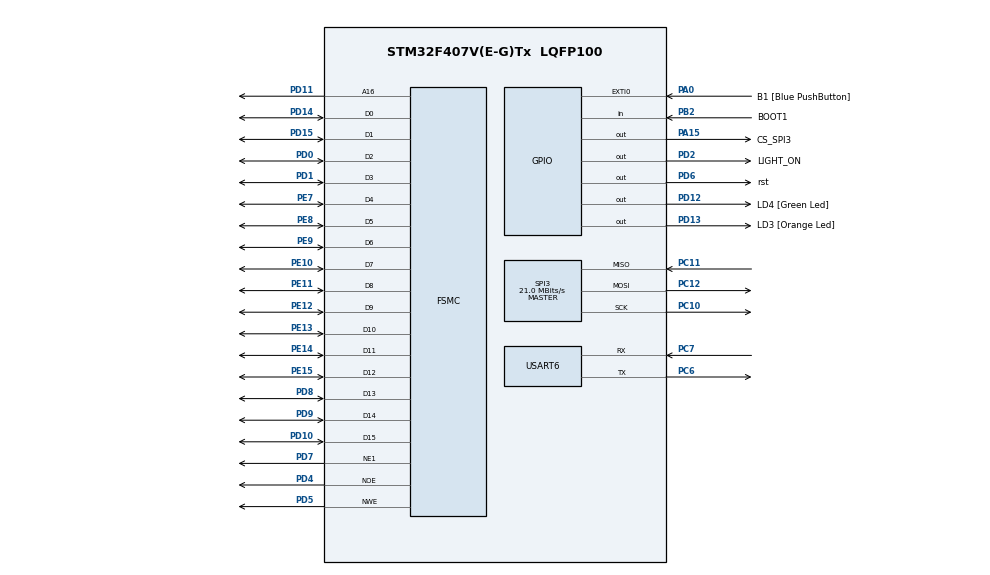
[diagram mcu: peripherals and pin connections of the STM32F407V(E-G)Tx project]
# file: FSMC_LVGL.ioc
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FSMC.ExtendedMode1=FSMC_EXTENDED_MODE_DISABLE
Mcu.Family=STM32F4
Mcu.Name=STM32F407V(E-G)Tx
Mcu.Package=LQFP100
NVIC.PriorityGroup=NVIC_PRIORITYGROUP_0
PA0-WKUP.GPIO_Label=B1 [Blue PushButton]
PA0-WKUP.GPIO_ModeDefaultEXTI=GPIO_MODE_EVT_RISING
PA0-WKUP.GPIO_PuPd=GPIO_NOPULL
PA0-WKUP.Signal=GPXTI0
PA13.GPIO_Label=SWDIO
PA13.Mode=Serial_Wire
PA13.Signal=SYS_JTMS-SWDIO
PA14.GPIO_Label=SWCLK
PA14.Mode=Serial_Wire
PA14.Signal=SYS_JTCK-SWCLK
PA15.GPIO_Label=CS_SPI3
PA15.Signal=GPIO_Output
PB2.GPIO_Label=BOOT1
PB2.GPIO_Mode=GPIO_MODE_INPUT
PB2.GPIO_PuPd=GPIO_NOPULL
PB2.Signal=GPIO_Input
PC10.Mode=Full_Duplex_Master
PC10.Signal=SPI3_SCK
PC11.Mode=Full_Duplex_Master
PC11.Signal=SPI3_MISO
PC12.Mode=Full_Duplex_Master
PC12.Signal=SPI3_MOSI
PC14-OSC32_IN.GPIO_Label=PC14-OSC32_IN
PC14-OSC32_IN.Mode=LSE-External-Oscillator
PC14-OSC32_IN.Signal=RCC_OSC32_IN
PC15-OSC32_OUT.GPIO_Label=PC15-OSC32_OUT
PC15-OSC32_OUT.Mode=LSE-External-Oscillator
PC15-OSC32_OUT.Signal=RCC_OSC32_OUT
PC6.Mode=Asynchronous
PC6.Signal=USART6_TX
PC7.Mode=Asynchronous
PC7.Signal=USART6_RX
PD0.Mode=16b-d1
PD0.Signal=FSMC_D2
PD1.Mode=16b-d1
PD1.Signal=FSMC_D3
PD10.Mode=16b-d1
PD10.Signal=FSMC_D15
PD11.Mode=A16_1
PD11.Signal=FSMC_A16
PD12.GPIO_Label=LD4 [Green Led]
PD12.GPIO_PuPd=GPIO_NOPULL
PD12.GPIO_Speed=GPIO_SPEED_FREQ_LOW
PD12.Signal=GPIO_Output
PD13.GPIO_Label=LD3 [Orange Led]
PD13.GPIO_PuPd=GPIO_NOPULL
PD13.GPIO_Speed=GPIO_SPEED_FREQ_LOW
PD13.Signal=GPIO_Output
PD14.Mode=16b-d1
PD14.Signal=FSMC_D0
PD15.Mode=16b-d1
PD15.Signal=FSMC_D1
PD2.GPIO_Label=LIGHT_ON
PD2.Signal=GPIO_Output
PD4.Mode=Lcd1
PD4.Signal=FSMC_NOE
PD5.Mode=Lcd1
PD5.Signal=FSMC_NWE
PD6.GPIO_Label=rst
PD6.Signal=GPIO_Output
PD7.Mode=NorPsramChipSelect1_1
PD7.Signal=FSMC_NE1
PD8.Mode=16b-d1
PD8.Signal=FSMC_D13
PD9.Mode=16b-d1
PD9.Signal=FSMC_D14
PE10.Mode=16b-d1
PE10.Signal=FSMC_D7
PE11.Mode=16b-d1
PE11.Signal=FSMC_D8
PE12.Mode=16b-d1
PE12.Signal=FSMC_D9
PE13.Mode=16b-d1
PE13.Signal=FSMC_D10
PE14.Mode=16b-d1
PE14.Signal=FSMC_D11
PE15.Mode=16b-d1
PE15.Signal=FSMC_D12
PE7.Mode=16b-d1
PE7.Signal=FSMC_D4
PE8.Mode=16b-d1
PE8.Signal=FSMC_D5
PE9.Mode=16b-d1
PE9.Signal=FSMC_D6
PH0-OSC_IN.GPIO_Label=PH0-OSC_IN
PH0-OSC_IN.Mode=HSE-External-Oscillator
PH0-OSC_IN.Signal=RCC_OSC_IN
PH1-OSC_OUT.GPIO_Label=PH1-OSC_OUT
PH1-OSC_OUT.Mode=HSE-External-Oscillator
PH1-OSC_OUT.Signal=RCC_OSC_OUT
ProjectManager.HeapSize=0x2400
ProjectManager.StackSize=0x4800
ProjectManager.TargetToolchain=Makefile
RCC.48MHZClocksFreq_Value=48000000
RCC.AHBFreq_Value=168000000
RCC.APB1CLKDivider=RCC_HCLK_DIV4
RCC.APB1Freq_Value=42000000
RCC.APB1TimFreq_Value=84000000
RCC.APB2CLKDivider=RCC_HCLK_DIV2
RCC.APB2Freq_Value=84000000
RCC.APB2TimFreq_Value=168000000
RCC.CortexFreq_Value=168000000
RCC.HCLKFreq_Value=168000000
RCC.HSE_VALUE=8000000
RCC.HSI_VALUE=16000000
RCC.PLLM=8
RCC.PLLN=336
RCC.PLLQ=7
RCC.PLLSourceVirtual=RCC_PLLSOURCE_HSE
RCC.SYSCLKFreq_VALUE=168000000
RCC.SYSCLKSource=RCC_SYSCLKSOURCE_PLLCLK
RCC.VCOOutputFreq_Value=336000000
SPI3.CalculateBaudRate=21.0 MBits/s
SPI3.Direction=SPI_DIRECTION_2LINES
SPI3.Mode=SPI_MODE_MASTER
SPI3.VirtualType=VM_MASTER
STMicroelectronics.X-CUBE-DISPLAY.2.2.0_IsPackSelfContextualization=true
STMicroelectronics.X-CUBE-TOUCHGFX.4.19.1.ApplicationCcGraphicsJjApplication=TouchGFXOoGenerator
STMicroelectronics.X-CUBE-TOUCHGFX.4.19.1.tgfx_buffering_strategy=Partial
STMicroelectronics.X-CUBE-TOUCHGFX.4.19.1.tgfx_custom_height=240
STMicroelectronics.X-CUBE-TOUCHGFX.4.19.1.tgfx_custom_width=320
STMicroelectronics.X-CUBE-TOUCHGFX.4.19.1.tgfx_display_interface=disp_fmc
STMicroelectronics.X-CUBE-TOUCHGFX.4.19.1_IsPackSelfContextualization=true
USART6.VirtualMode=VM_ASYNC
VP_CRC_VS_CRC.Mode=CRC_Activate
VP_STMicroelectronics.X-CUBE-TOUCHGFX_VS_GraphicsJjApplication_4.19.1.Mode=GraphicsJjApplication
board=STM32F407G-DISC1

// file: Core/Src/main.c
/* USER CODE BEGIN Header */
/**
  ******************************************************************************
  * @file           : main.c
  * @brief          : Main program body
  ******************************************************************************
  * @attention
  *
  * Copyright (c) 2022 STMicroelectronics.
  * All rights reserved.
  *
  * This software is licensed under terms that can be found in the LICENSE file
  * in the root directory of this software component.
  * If no LICENSE file comes with this software, it is provided AS-IS.
  *
  ******************************************************************************
  */
/* USER CODE END Header */
#include "main.h"
#include "spi.h"
#include "usart.h"
#include "gpio.h"
#include "fsmc.h"

/* USER CODE BEGIN Includes */
#include "../../lvgl/lvgl.h"
#include "../../lvgl/lv_conf.h"
#include "ili9341.h"
/* USER CODE END Includes */

/* USER CODE BEGIN PTD */
void my_flush_cb(lv_disp_drv_t * disp_drv, const lv_area_t * area, lv_color_t * color_p)
{
    /*The most simple case (but also the slowest) to put all pixels to the screen one-by-one
     *`put_px` is just an example, it needs to implemented by you.*/
    uint32_t x, y;
		uint16_t tmp_color;
    for(y = area->y1; y <= area->y2; y++) {
        for(x = area->x1; x <= area->x2; x++) {
					 tmp_color = color_p->full;
					 lcdDrawPixel(x, y, tmp_color);
           color_p++;
        }
    }

    /* IMPORTANT!!!
     * Inform the graphics library that you are ready with the flushing*/
    lv_disp_flush_ready(disp_drv);
}

static lv_obj_t * meter;

static void set_value(void * indic, int32_t v)
{
    lv_meter_set_indicator_value(meter, indic, v);
}
/* USER CODE END PTD */

void SystemClock_Config(void);

int main(void)
{
  /* USER CODE BEGIN 1 */

/*Static or global buffer(s). The second buffer is optional*/

  /* USER CODE END 1 */

  /* MCU Configuration--------------------------------------------------------*/

  /* Reset of all peripherals, Initializes the Flash interface and the Systick. */
  HAL_Init();

  /* Configure the system clock */
  SystemClock_Config();

  /* Initialize all configured peripherals */
  MX_GPIO_Init();
  MX_FSMC_Init();
  MX_SPI3_Init();
  MX_USART6_UART_Init();
  /* USER CODE BEGIN 2 */
	LL_GPIO_SetOutputPin(rst_GPIO_Port, rst_Pin);
	lcdDisplayOn();
	lcdInit();
	lcdFillRGB(0);
	lcdSetOrientation(1);
	lcdTest();
  LL_mDelay(500);
	lv_init();
	static volatile lv_disp_drv_t disp_drv;          /*A variable to hold the drivers. Must be static or global.*/
	static volatile lv_disp_draw_buf_t disp_buf;
	static volatile lv_color_t buf_1[ILI9341_PIXEL_WIDTH * 10];
  static volatile lv_color_t buf_2[ILI9341_PIXEL_WIDTH * 10];
	volatile lv_disp_t *disp;
	/*Initialize `disp_buf` with the buffer(s). With only one buffer use NULL instead buf_2 */
	lv_disp_draw_buf_init(&disp_buf, buf_1, buf_2 ,240*10);
	lv_disp_drv_init(&disp_drv);            /*Basic initialization*/
	disp_drv.draw_buf = &disp_buf;          /*Set an initialized buffer*/
	disp_drv.flush_cb = my_flush_cb;        /*Set a flush callback to draw to the display*/
	disp_drv.hor_res = 240;                 /*Set the horizontal resolution in pixels*/
	disp_drv.ver_res = 320;                 /*Set the vertical resolution in pixels*/

	disp = lv_disp_drv_register(&disp_drv); /*Register the driver and save the created display objects*/
	lv_disp_set_rotation(disp, LV_DISP_ROT_90);

	//-------------------------------------------------------------------------------------------------------------------

meter = lv_meter_create(lv_scr_act());
    lv_obj_center(meter);
    lv_obj_set_size(meter, 230, 230);

    /*Add a scale first*/
    lv_meter_scale_t * scale = lv_meter_add_scale(meter);
    lv_meter_set_scale_ticks(meter, scale, 51, 2, 10, lv_palette_main(LV_PALETTE_GREY));
    lv_meter_set_scale_major_ticks(meter, scale, 10, 4, 15, lv_color_black(), 10);

    lv_meter_indicator_t * indic;

    /*Add a blue arc to the start*/
    indic = lv_meter_add_arc(meter, scale, 3, lv_palette_main(LV_PALETTE_BLUE), 0);
    lv_meter_set_indicator_start_value(meter, indic, 0);
    lv_meter_set_indicator_end_value(meter, indic, 20);

    /*Make the tick lines blue at the start of the scale*/
    indic = lv_meter_add_scale_lines(meter, scale, lv_palette_main(LV_PALETTE_BLUE), lv_palette_main(LV_PALETTE_BLUE),
                                     false, 0);
    lv_meter_set_indicator_start_value(meter, indic, 0);
    lv_meter_set_indicator_end_value(meter, indic, 20);

    indic = lv_meter_add_arc(meter, scale, 3, lv_palette_main(LV_PALETTE_DEEP_ORANGE), 0);
    lv_meter_set_indicator_start_value(meter, indic, 20);
    lv_meter_set_indicator_end_value(meter, indic, 80);

    /*Add a red arc to the end*/
    indic = lv_meter_add_arc(meter, scale, 3, lv_palette_main(LV_PALETTE_RED), 0);
    lv_meter_set_indicator_start_value(meter, indic, 80);
    lv_meter_set_indicator_end_value(meter, indic, 100);

    /*Make the tick lines red at the end of the scale*/
    indic = lv_meter_add_scale_lines(meter, scale, lv_palette_main(LV_PALETTE_RED), lv_palette_main(LV_PALETTE_RED), false,
                                     0);
    lv_meter_set_indicator_start_value(meter, indic, 80);
    lv_meter_set_indicator_end_value(meter, indic, 100);

    /*Add a needle line indicator*/
    indic = lv_meter_add_needle_line(meter, scale, 4, lv_palette_main(LV_PALETTE_GREY), -10);
     lv_meter_set_indicator_value(meter, indic, 30); // set value

    /*Create an animation to set the value*/
  //  lv_anim_t a;
  //  lv_anim_init(&a);
  //  lv_anim_set_exec_cb(&a, set_value);
  //  lv_anim_set_var(&a, indic);
  //  lv_anim_set_values(&a, 0, 100);
  //  lv_anim_set_time(&a, 8000);
  //  lv_anim_set_repeat_delay(&a, 100);
  //  lv_anim_set_playback_time(&a, 1500);
  //  lv_anim_set_playback_delay(&a, 100);
  //  lv_anim_set_repeat_count(&a, LV_ANIM_REPEAT_INFINITE);
  //  lv_anim_start(&a);
	//-------------------------------------------------------------------------------------------------------------------
  /* USER CODE END 2 */

  /* Infinite loop */
  /* USER CODE BEGIN WHILE */
  while (1)
  {
		lv_timer_handler();
		LL_mDelay(1);

    /* USER CODE END WHILE */

  }
}

void SystemClock_Config(void)
{
  LL_FLASH_SetLatency(LL_FLASH_LATENCY_5);
  while(LL_FLASH_GetLatency()!= LL_FLASH_LATENCY_5)
  {
  }
  LL_PWR_SetRegulVoltageScaling(LL_PWR_REGU_VOLTAGE_SCALE1);
  LL_RCC_HSE_Enable();

   /* Wait till HSE is ready */
  while(LL_RCC_HSE_IsReady() != 1)
  {

  }
  LL_RCC_PLL_ConfigDomain_SYS(LL_RCC_PLLSOURCE_HSE, LL_RCC_PLLM_DIV_8, 336, LL_RCC_PLLP_DIV_2);
  LL_RCC_PLL_Enable();

   /* Wait till PLL is ready */
  while(LL_RCC_PLL_IsReady() != 1)
  {

  }
  LL_RCC_SetAHBPrescaler(LL_RCC_SYSCLK_DIV_1);
  LL_RCC_SetAPB1Prescaler(LL_RCC_APB1_DIV_4);
  LL_RCC_SetAPB2Prescaler(LL_RCC_APB2_DIV_2);
  LL_RCC_SetSysClkSource(LL_RCC_SYS_CLKSOURCE_PLL);

   /* Wait till System clock is ready */
  while(LL_RCC_GetSysClkSource() != LL_RCC_SYS_CLKSOURCE_STATUS_PLL)
  {

  }
  LL_SetSystemCoreClock(168000000);

   /* Update the time base */
  if (HAL_InitTick (TICK_INT_PRIORITY) != HAL_OK)
  {
    Error_Handler();
  }
}

void Error_Handler(void)
{
  __disable_irq();
  while (1)
  {
  }
}
